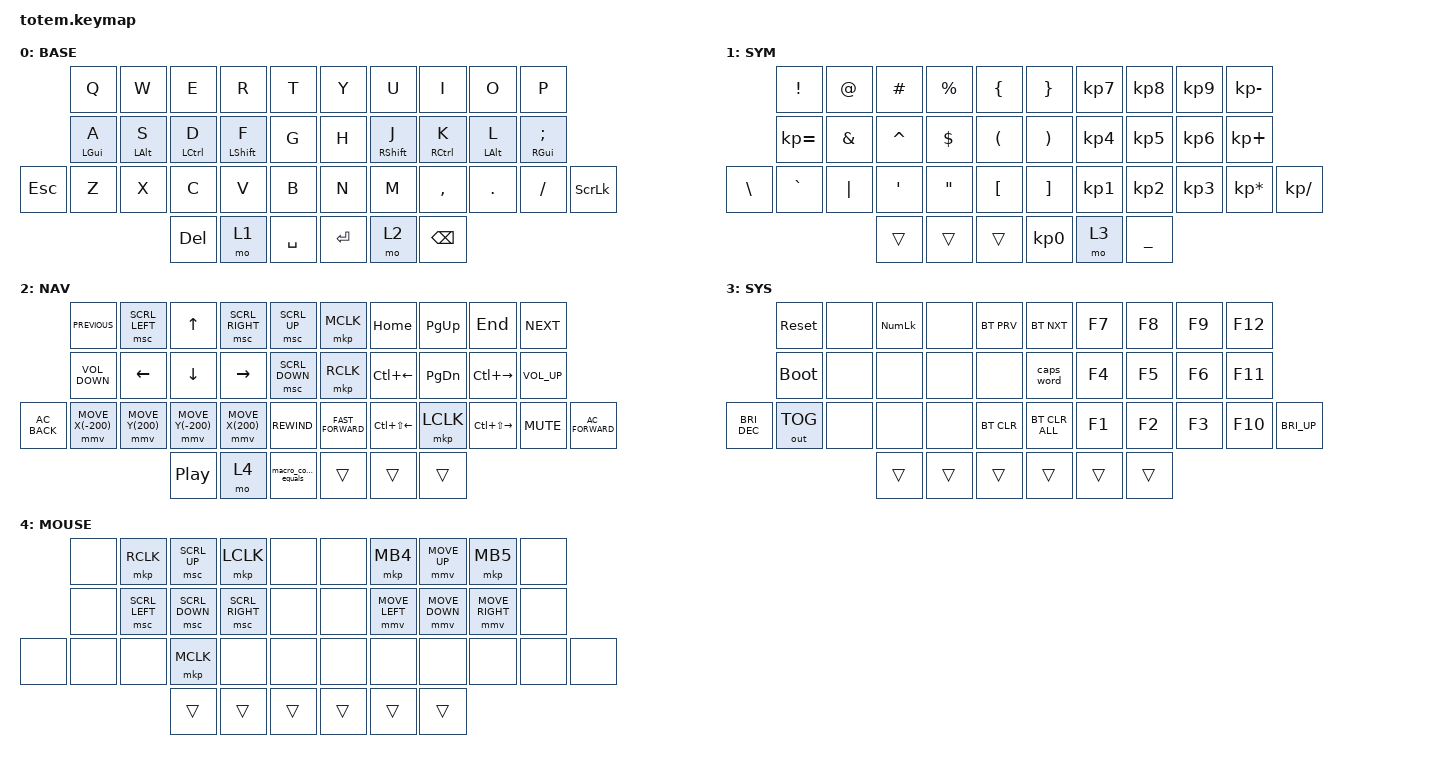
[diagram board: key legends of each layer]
//
//                                                        ▀▀▀▀▀     ▀▀▀▀▀          ▀▀█▀▀
//                                                        ▄▀▀▀▄  ▄  ▄▀▀▀▄  ▄  ▄▀▀▀▄  █  ▄▀▀▀▄
//                                                        █   █  █  █   █  █  █   █  █  █   █
//                                                         ▀▀▀   █   ▀▀▀   █   ▀▀▀   ▀   ▀▀▀
//                                                               █      ▄▄▄█▄▄▄    █   █  
//                                                               ▀      █  █  █     █▄█
//                                                             ▀▀▀▀▀    █  █  █      ▀
//                                                                      ▀  ▀  ▀
//
// ▄▄▄▄▄▄▄▄▄▄▄▄▄▄▄▄▄▄▄▄▄▄▄▄▄▄▄▄▄▄▄▄▄▄▄▄▄▄▄▄▄▄▄▄▄▄▄▄▄▄▄▄▄▄▄▄▄▄▄▄▄▄▄▄▄▄▄▄▄▄▄▄▄▄▄▄▄▄▄▄▄▄▄▄▄▄▄▄▄▄▄▄▄▄▄▄▄▄▄▄▄▄▄▄▄▄▄▄▄▄▄▄▄▄▄▄▄▄▄▄▄▄▄▄▄▄▄▄▄▄▄▄▄▄▄▄▄▄▄▄▄▄▄▄▄▄▄▄▄

#include <behaviors.dtsi>
#include <dt-bindings/zmk/bt.h>
#include <dt-bindings/zmk/keys.h>
#include <dt-bindings/zmk/outputs.h>

#define ZMK_POINTING_DEFAULT_MOVE_VAL 1500  // default: 600
#define ZMK_POINTING_DEFAULT_SCRL_VAL 60    // default: 10
#include <dt-bindings/zmk/pointing.h>

#define BASE 0
#define NAV  1
#define SYM  2
#define ADJ  3
#define TVP1 4
#define TVP2 5

&mt {
    quick-tap-ms = <100>;
    global-quick-tap;
    flavor = "balanced";
    tapping-term-ms = <170>;
};

/ {
    combos {
        compatible = "zmk,combos";

        combo_esc {
            timeout-ms = <50>;
            key-positions = <11 12 13>;
            bindings = <&kp ESC>;
        };

        combo_ret {
            bindings = <&kp RET>;
            key-positions = <16 17 18>;
            timeout-ms = <50>;
        };

        combo_tilde {
            bindings = <&kp TILDE>;
            key-positions = <1 2 3>;
            timeout-ms = <50>;
        };

        combo_bspc {
            bindings = <&kp BACKSPACE>;
            key-positions = <6 7 8>;
        };

        combo_tab {
            bindings = <&kp TAB>;
            key-positions = <22 23 24>;
        };

        combo_pp {
            bindings = <&kp C_PLAY_PAUSE>;
            key-positions = <27 28 29>;
        };
    };

    macros {
        macro_colon_equals: macro_colon_equals {
            compatible = "zmk,behavior-macro";
            #binding-cells = <0>;
            bindings = <&kp COLON &kp EQUAL>;
            label = "MACRO_COLON_EQUALS";
        };
    };

    keymap {
        compatible = "zmk,keymap";

        // ▄▄▄▄▄▄▄▄▄▄▄▄▄▄▄▄▄▄▄▄▄▄▄▄▄▄▄▄▄▄▄▄▄▄▄▄▄▄▄▄▄▄▄▄▄▄▄▄▄▄▄▄▄▄▄▄▄▄▄▄▄▄▄▄▄▄▄▄▄▄▄▄▄▄▄▄▄▄▄▄▄▄▄▄▄▄▄▄▄▄▄▄▄▄▄▄▄▄▄▄▄▄▄▄▄▄▄▄▄▄▄▄▄▄▄▄▄▄▄▄▄▄▄▄▄▄▄▄▄▄▄▄▄▄▄▄▄▄▄▄▄▄▄▄▄▄▄▄▄

        base_layer {
            // ┏━━━━━━━━━━━━━━━━━━━━━━━━━━━━━━━━━━━━━━━┓

            label = "BASE";

            // ┗━━━━━━━━━━━━━━━━━━━━━━━━━━━━━━━━━━━━━━━┛
            //             ┏━━━━━━━━━━━┳━━━━━━━━━━━┳━━━━━━━━━━━┳━━━━━━━━━━━┳━━━━━━━━━━━┓   ┏━━━━━━━━━━━┳━━━━━━━━━━━┳━━━━━━━━━━━┳━━━━━━━━━━━┳━━━━━━━━━━━┓
            //             ┃     Q     ┃     W     ┃     F     ┃     P     ┃     G     ┃   ┃     J     ┃     L     ┃     U     ┃     Y     ┃     ;     ┃
            //             ┣━━━━━━━━━━━╋━━━━━━━━━━━╋━━━━━━━━━━━╋━━━━━━━━━━━╋━━━━━━━━━━━┫   ┣━━━━━━━━━━━╋━━━━━━━━━━━╋━━━━━━━━━━━╋━━━━━━━━━━━╋━━━━━━━━━━━┫
            //             ┃     A     ┃     R     ┃     S     ┃     T     ┃     D     ┃   ┃     H     ┃     N     ┃     E     ┃     I     ┃     O     ┃
            // ┏━━━━━━━━━━━╋━━━━━━━━━━━╋━━━━━━━━━━━╋━━━━━━━━━━━╋━━━━━━━━━━━╋━━━━━━━━━━━┫   ┣━━━━━━━━━━━╋━━━━━━━━━━━╋━━━━━━━━━━━╋━━━━━━━━━━━╋━━━━━━━━━━━╋━━━━━━━━━━━┓
            // ┃     Q     ┃     Z     ┃     X     ┃     C     ┃     V     ┃     B     ┃   ┃     K     ┃     M     ┃     ,     ┃     .     ┃     /     ┃     \     ┃
            // ┗━━━━━━━━━━━┻━━━━━━━━━━━┻━━━━━━━━━━━╋━━━━━━━━━━━╋━━━━━━━━━━━╋━━━━━━━━━━━┫   ┣━━━━━━━━━━━╋━━━━━━━━━━━╋━━━━━━━━━━━╋━━━━━━━━━━━┻━━━━━━━━━━━┻━━━━━━━━━━━┛
            //                                     ┃    DEL    ┃    TAB    ┃    SPC    ┃   ┃   ENTER   ┃           ┃   BSPC    ┃
            //                                     ┗━━━━━━━━━━━┻━━━━━━━━━━━┻━━━━━━━━━━━┛   ┗━━━━━━━━━━━┻━━━━━━━━━━━┻━━━━━━━━━━━┛

            bindings = <
            &kp Q       &kp W       &kp E        &kp R        &kp T        &kp Y      &kp U        &kp I        &kp O           &kp P
            &mt LGUI A  &mt LALT S  &mt LCTRL D  &mt LSHFT F  &kp G        &kp H      &mt RSHFT J  &mt RCTRL K  &mt LEFT_ALT L  &mt RGUI SEMICOLON
&kp ESCAPE  &kp Z       &kp X       &kp C        &kp V        &kp B        &kp N      &kp M        &kp COMMA    &kp DOT         &kp FSLH            &kp SCROLLLOCK
                                    &kp DEL      &mo 1        &kp SPACE    &kp ENTER  &mo 2        &kp BSPC
            >;
        };

        // ▄▄▄▄▄▄▄▄▄▄▄▄▄▄▄▄▄▄▄▄▄▄▄▄▄▄▄▄▄▄▄▄▄▄▄▄▄▄▄▄▄▄▄▄▄▄▄▄▄▄▄▄▄▄▄▄▄▄▄▄▄▄▄▄▄▄▄▄▄▄▄▄▄▄▄▄▄▄▄▄▄▄▄▄▄▄▄▄▄▄▄▄▄▄▄▄▄▄▄▄▄▄▄▄▄▄▄▄▄▄▄▄▄▄▄▄▄▄▄▄▄▄▄▄▄▄▄▄▄▄▄▄▄▄▄▄▄▄▄▄▄▄▄▄▄▄▄▄▄

        sym_layer {
            // ┏━━━━━━━━━━━━━━━━━━━━━━━━━━━━━━━━━━━━━━━┓

            label = "SYM";

            // ┗━━━━━━━━━━━━━━━━━━━━━━━━━━━━━━━━━━━━━━━┛
            //             ┏━━━━━━━━━━━┳━━━━━━━━━━━┳━━━━━━━━━━━┳━━━━━━━━━━━┳━━━━━━━━━━━┓   ┏━━━━━━━━━━━┳━━━━━━━━━━━┳━━━━━━━━━━━┳━━━━━━━━━━━┳━━━━━━━━━━━┓
            //             ┃           ┃           ┃     UP    ┃           ┃     {     ┃   ┃     }     ┃     7     ┃     8     ┃     9     ┃     +     ┃
            //             ┣━━━━━━━━━━━╋━━━━━━━━━━━╋━━━━━━━━━━━╋━━━━━━━━━━━╋━━━━━━━━━━━┫   ┣━━━━━━━━━━━╋━━━━━━━━━━━╋━━━━━━━━━━━╋━━━━━━━━━━━╋━━━━━━━━━━━┫
            //             ┃   SHIFT   ┃   LEFT    ┃    DOWN   ┃   RIGHT   ┃     [     ┃   ┃     ]     ┃     4     ┃     5     ┃     6     ┃     -     ┃
            // ┏━━━━━━━━━━━╋━━━━━━━━━━━╋━━━━━━━━━━━╋━━━━━━━━━━━╋━━━━━━━━━━━╋━━━━━━━━━━━┫   ┣━━━━━━━━━━━╋━━━━━━━━━━━╋━━━━━━━━━━━╋━━━━━━━━━━━╋━━━━━━━━━━━╋━━━━━━━━━━━┓
            // ┃           ┃           ┃   P UP    ┃  C LOCK   ┃  P DOWN   ┃     (     ┃   ┃     )     ┃     1     ┃     2     ┃     3     ┃     *     ┃           ┃
            // ┗━━━━━━━━━━━┻━━━━━━━━━━━┻━━━━━━━━━━━╋━━━━━━━━━━━╋━━━━━━━━━━━╋━━━━━━━━━━━┫   ┣━━━━━━━━━━━╋━━━━━━━━━━━╋━━━━━━━━━━━╋━━━━━━━━━━━┻━━━━━━━━━━━┻━━━━━━━━━━━┛
            //                                     ┃           ┃    TAB    ┃    SPC    ┃   ┃    DEL    ┃     0     ┃           ┃
            //                                     ┗━━━━━━━━━━━┻━━━━━━━━━━━┻━━━━━━━━━━━┛   ┗━━━━━━━━━━━┻━━━━━━━━━━━┻━━━━━━━━━━━┛

            bindings = <
               &kp EXCLAMATION  &kp AT_SIGN    &kp HASH          &kp PERCENT        &kp LBRC            &kp RBRC           &kp KP_N7  &kp KP_N8       &kp KP_N9  &kp KP_MINUS
               &kp KP_EQUAL     &kp AMPERSAND  &kp CARET         &kp DOLLAR         &kp LPAR            &kp RPAR           &kp KP_N4  &kp KP_N5       &kp KP_N6  &kp KP_PLUS
&kp BACKSLASH  &kp GRAVE        &kp PIPE       &kp SINGLE_QUOTE  &kp DOUBLE_QUOTES  &kp LEFT_BRACKET    &kp RIGHT_BRACKET  &kp KP_N1  &kp KP_N2       &kp KP_N3  &kp KP_MULTIPLY  &kp KP_DIVIDE
                                               &trans            &trans             &trans              &kp KP_N0          &mo 3      &kp UNDERSCORE
            >;
        };

        // ▄▄▄▄▄▄▄▄▄▄▄▄▄▄▄▄▄▄▄▄▄▄▄▄▄▄▄▄▄▄▄▄▄▄▄▄▄▄▄▄▄▄▄▄▄▄▄▄▄▄▄▄▄▄▄▄▄▄▄▄▄▄▄▄▄▄▄▄▄▄▄▄▄▄▄▄▄▄▄▄▄▄▄▄▄▄▄▄▄▄▄▄▄▄▄▄▄▄▄▄▄▄▄▄▄▄▄▄▄▄▄▄▄▄▄▄▄▄▄▄▄▄▄▄▄▄▄▄▄▄▄▄▄▄▄▄▄▄▄▄▄▄▄▄▄▄▄▄▄

        nav_layer {
            // ┏━━━━━━━━━━━━━━━━━━━━━━━━━━━━━━━━━━━━━━━┓

            label = "NAV";

            // ┗━━━━━━━━━━━━━━━━━━━━━━━━━━━━━━━━━━━━━━━┛
            //             ┏━━━━━━━━━━━┳━━━━━━━━━━━┳━━━━━━━━━━━┳━━━━━━━━━━━┳━━━━━━━━━━━┓   ┏━━━━━━━━━━━┳━━━━━━━━━━━┳━━━━━━━━━━━┳━━━━━━━━━━━┳━━━━━━━━━━━┓
            //             ┃     !     ┃     @     ┃     #     ┃     $     ┃     %     ┃   ┃     ˆ     ┃     &     ┃     Ü     ┃     '     ┃     "     ┃
            //             ┣━━━━━━━━━━━╋━━━━━━━━━━━╋━━━━━━━━━━━╋━━━━━━━━━━━╋━━━━━━━━━━━┫   ┣━━━━━━━━━━━╋━━━━━━━━━━━╋━━━━━━━━━━━╋━━━━━━━━━━━╋━━━━━━━━━━━┫
            //             ┃     Ä     ┃           ┃    SZ     ┃           ┃           ┃   ┃   MUTE    ┃   YEN     ┃   EURO    ┃  POUND    ┃     Ö     ┃
            // ┏━━━━━━━━━━━╋━━━━━━━━━━━╋━━━━━━━━━━━╋━━━━━━━━━━━╋━━━━━━━━━━━╋━━━━━━━━━━━┫   ┣━━━━━━━━━━━╋━━━━━━━━━━━╋━━━━━━━━━━━╋━━━━━━━━━━━╋━━━━━━━━━━━╋━━━━━━━━━━━┓
            // ┃           ┃  EMAIL1   ┃  EMAIL2   ┃           ┃           ┃           ┃   ┃   VOL-    ┃   VOL+    ┃   LAST    ┃   NEXT    ┃     \     ┃           ┃
            // ┗━━━━━━━━━━━┻━━━━━━━━━━━┻━━━━━━━━━━━╋━━━━━━━━━━━╋━━━━━━━━━━━╋━━━━━━━━━━━┫   ┣━━━━━━━━━━━╋━━━━━━━━━━━╋━━━━━━━━━━━╋━━━━━━━━━━━┻━━━━━━━━━━━┻━━━━━━━━━━━┛
            //                                     ┃           ┃    GIF    ┃    ADJ    ┃   ┃           ┃           ┃           ┃
            //                                     ┗━━━━━━━━━━━┻━━━━━━━━━━━┻━━━━━━━━━━━┛   ┗━━━━━━━━━━━┻━━━━━━━━━━━┻━━━━━━━━━━━┛

            bindings = <
               &kp C_PREVIOUS     &msc SCRL_LEFT    &kp UP_ARROW       &msc SCRL_RIGHT   &msc SCRL_UP           &mkp MCLK           &kp HOME                &kp PAGE_UP    &kp END                  &kp C_NEXT
               &kp C_VOLUME_DOWN  &kp LEFT_ARROW    &kp DOWN_ARROW     &kp RIGHT_ARROW   &msc SCRL_DOWN         &mkp RCLK           &kp LC(LEFT_ARROW)      &kp PAGE_DOWN  &kp LC(RIGHT_ARROW)      &kp C_VOLUME_UP
&kp C_AC_BACK  &mmv MOVE_X(-200)  &mmv MOVE_Y(200)  &mmv MOVE_Y(-200)  &mmv MOVE_X(200)  &kp C_REWIND           &kp C_FAST_FORWARD  &kp LC(LS(LEFT_ARROW))  &mkp LCLK      &kp LC(LS(RIGHT_ARROW))  &kp C_MUTE       &kp C_AC_FORWARD
                                                    &kp C_PLAY_PAUSE   &mo 4             &macro_colon_equals    &trans              &trans                  &trans
            >;
        };

        // ▄▄▄▄▄▄▄▄▄▄▄▄▄▄▄▄▄▄▄▄▄▄▄▄▄▄▄▄▄▄▄▄▄▄▄▄▄▄▄▄▄▄▄▄▄▄▄▄▄▄▄▄▄▄▄▄▄▄▄▄▄▄▄▄▄▄▄▄▄▄▄▄▄▄▄▄▄▄▄▄▄▄▄▄▄▄▄▄▄▄▄▄▄▄▄▄▄▄▄▄▄▄▄▄▄▄▄▄▄▄▄▄▄▄▄▄▄▄▄▄▄▄▄▄▄▄▄▄▄▄▄▄▄▄▄▄▄▄▄▄▄▄▄▄▄▄▄▄▄

        system_layer {
            // ┏━━━━━━━━━━━━━━━━━━━━━━━━━━━━━━━━━━━━━━━┓

            label = "SYS";

            // ┗━━━━━━━━━━━━━━━━━━━━━━━━━━━━━━━━━━━━━━━┛
            //             ┏━━━━━━━━━━━┳━━━━━━━━━━━┳━━━━━━━━━━━┳━━━━━━━━━━━┳━━━━━━━━━━━┓   ┏━━━━━━━━━━━┳━━━━━━━━━━━┳━━━━━━━━━━━┳━━━━━━━━━━━┳━━━━━━━━━━━┓
            //             ┃   RESET   ┃ BT CLEAR  ┃  OUT TOG  ┃           ┃           ┃   ┃           ┃    F7     ┃    F8     ┃    F9     ┃    F12    ┃
            //             ┣━━━━━━━━━━━╋━━━━━━━━━━━╋━━━━━━━━━━━╋━━━━━━━━━━━╋━━━━━━━━━━━┫   ┣━━━━━━━━━━━╋━━━━━━━━━━━╋━━━━━━━━━━━╋━━━━━━━━━━━╋━━━━━━━━━━━┫
            //             ┃ BOOTLOAD  ┃ BT NEXT   ┃           ┃           ┃           ┃   ┃           ┃    F4     ┃    F5     ┃    F6     ┃    F11    ┃
            // ┏━━━━━━━━━━━╋━━━━━━━━━━━╋━━━━━━━━━━━╋━━━━━━━━━━━╋━━━━━━━━━━━╋━━━━━━━━━━━┫   ┣━━━━━━━━━━━╋━━━━━━━━━━━╋━━━━━━━━━━━╋━━━━━━━━━━━╋━━━━━━━━━━━╋━━━━━━━━━━━┓
            // ┃           ┃           ┃ BT PREV   ┃           ┃           ┃           ┃   ┃           ┃    F1     ┃    F2     ┃    F3     ┃    F10    ┃           ┃
            // ┗━━━━━━━━━━━┻━━━━━━━━━━━┻━━━━━━━━━━━╋━━━━━━━━━━━╋━━━━━━━━━━━╋━━━━━━━━━━━┫   ┣━━━━━━━━━━━╋━━━━━━━━━━━╋━━━━━━━━━━━╋━━━━━━━━━━━┻━━━━━━━━━━━┻━━━━━━━━━━━┛
            //                                     ┃           ┃           ┃           ┃   ┃           ┃           ┃           ┃
            //                                     ┗━━━━━━━━━━━┻━━━━━━━━━━━┻━━━━━━━━━━━┛   ┗━━━━━━━━━━━┻━━━━━━━━━━━┻━━━━━━━━━━━┛

            bindings = <
               &sys_reset    &none  &kp KP_NUMLOCK  &none   &bt BT_PRV    &bt BT_NXT      &kp F7  &kp F8  &kp F9  &kp F12
               &bootloader   &none  &none           &none   &none         &caps_word      &kp F4  &kp F5  &kp F6  &kp F11
&kp C_BRI_DEC  &out OUT_TOG  &none  &none           &none   &bt BT_CLR    &bt BT_CLR_ALL  &kp F1  &kp F2  &kp F3  &kp F10  &kp C_BRI_UP
                                    &trans          &trans  &trans        &trans          &trans  &trans
            >;
        };

        // ▄▄▄▄▄▄▄▄▄▄▄▄▄▄▄▄▄▄▄▄▄▄▄▄▄▄▄▄▄▄▄▄▄▄▄▄▄▄▄▄▄▄▄▄▄▄▄▄▄▄▄▄▄▄▄▄▄▄▄▄▄▄▄▄▄▄▄▄▄▄▄▄▄▄▄▄▄▄▄▄▄▄▄▄▄▄▄▄▄▄▄▄▄▄▄▄▄▄▄▄▄▄▄▄▄▄▄▄▄▄▄▄▄▄▄▄▄▄▄▄▄▄▄▄▄▄▄▄▄▄▄▄▄▄▄▄▄▄▄▄▄▄▄▄▄▄▄▄▄

        mouse_layer {
            // ┏━━━━━━━━━━━━━━━━━━━━━━━━━━━━━━━━━━━━━━━┓

            label = "MOUSE";

            // ┗━━━━━━━━━━━━━━━━━━━━━━━━━━━━━━━━━━━━━━━┛
            //             ┏━━━━━━━━━━━┳━━━━━━━━━━━┳━━━━━━━━━━━┳━━━━━━━━━━━┳━━━━━━━━━━━┓   ┏━━━━━━━━━━━┳━━━━━━━━━━━┳━━━━━━━━━━━┳━━━━━━━━━━━┳━━━━━━━━━━━┓
            //             ┃ NEXT FILE ┃ MARK IN   ┃ ROTATE    ┃ MARK OUT  ┃ SHOW SNAP ┃   ┃           ┃           ┃           ┃           ┃           ┃
            //             ┣━━━━━━━━━━━╋━━━━━━━━━━━╋━━━━━━━━━━━╋━━━━━━━━━━━╋━━━━━━━━━━━┫   ┣━━━━━━━━━━━╋━━━━━━━━━━━╋━━━━━━━━━━━╋━━━━━━━━━━━╋━━━━━━━━━━━┫
            //             ┃ TVP II    ┃ LEFT      ┃ PAN       ┃ RIGHT     ┃ PLAY/FLIP ┃   ┃           ┃           ┃           ┃           ┃           ┃
            // ┏━━━━━━━━━━━╋━━━━━━━━━━━╋━━━━━━━━━━━╋━━━━━━━━━━━╋━━━━━━━━━━━╋━━━━━━━━━━━┫   ┣━━━━━━━━━━━╋━━━━━━━━━━━╋━━━━━━━━━━━╋━━━━━━━━━━━╋━━━━━━━━━━━╋━━━━━━━━━━━┓
            // ┃ FULLSCR   ┃ SHIFT     ┃ COPY      ┃ DELETE    ┃ PASTE     ┃ IMG MARK  ┃   ┃           ┃           ┃           ┃           ┃           ┃           ┃
            // ┗━━━━━━━━━━━┻━━━━━━━━━━━┻━━━━━━━━━━━╋━━━━━━━━━━━╋━━━━━━━━━━━╋━━━━━━━━━━━┫   ┣━━━━━━━━━━━╋━━━━━━━━━━━╋━━━━━━━━━━━╋━━━━━━━━━━━┻━━━━━━━━━━━┻━━━━━━━━━━━┛
            //                                     ┃           ┃ UNDO/SAVE ┃  SEL/MOV  ┃   ┃           ┃           ┃           ┃
            //                                     ┗━━━━━━━━━━━┻━━━━━━━━━━━┻━━━━━━━━━━━┛   ┗━━━━━━━━━━━┻━━━━━━━━━━━┻━━━━━━━━━━━┛

            bindings = <
       &none  &mkp RCLK       &msc SCRL_UP    &mkp LCLK        &none     &none   &mkp MB4        &mmv MOVE_UP    &mkp MB5         &none
       &none  &msc SCRL_LEFT  &msc SCRL_DOWN  &msc SCRL_RIGHT  &none     &none   &mmv MOVE_LEFT  &mmv MOVE_DOWN  &mmv MOVE_RIGHT  &none
&none  &none  &none           &mkp MCLK       &none            &none     &none   &none           &none           &none            &none  &none
                              &trans          &trans           &trans    &trans  &trans          &trans
            >;
        };

        // ▄▄▄▄▄▄▄▄▄▄▄▄▄▄▄▄▄▄▄▄▄▄▄▄▄▄▄▄▄▄▄▄▄▄▄▄▄▄▄▄▄▄▄▄▄▄▄▄▄▄▄▄▄▄▄▄▄▄▄▄▄▄▄▄▄▄▄▄▄▄▄▄▄▄▄▄▄▄▄▄▄▄▄▄▄▄▄▄▄▄▄▄▄▄▄▄▄▄▄▄▄▄▄▄▄▄▄▄▄▄▄▄▄▄▄▄▄▄▄▄▄▄▄▄▄▄▄▄▄▄▄▄▄▄▄▄▄▄▄▄▄▄▄▄▄▄▄▄▄
    };
};
